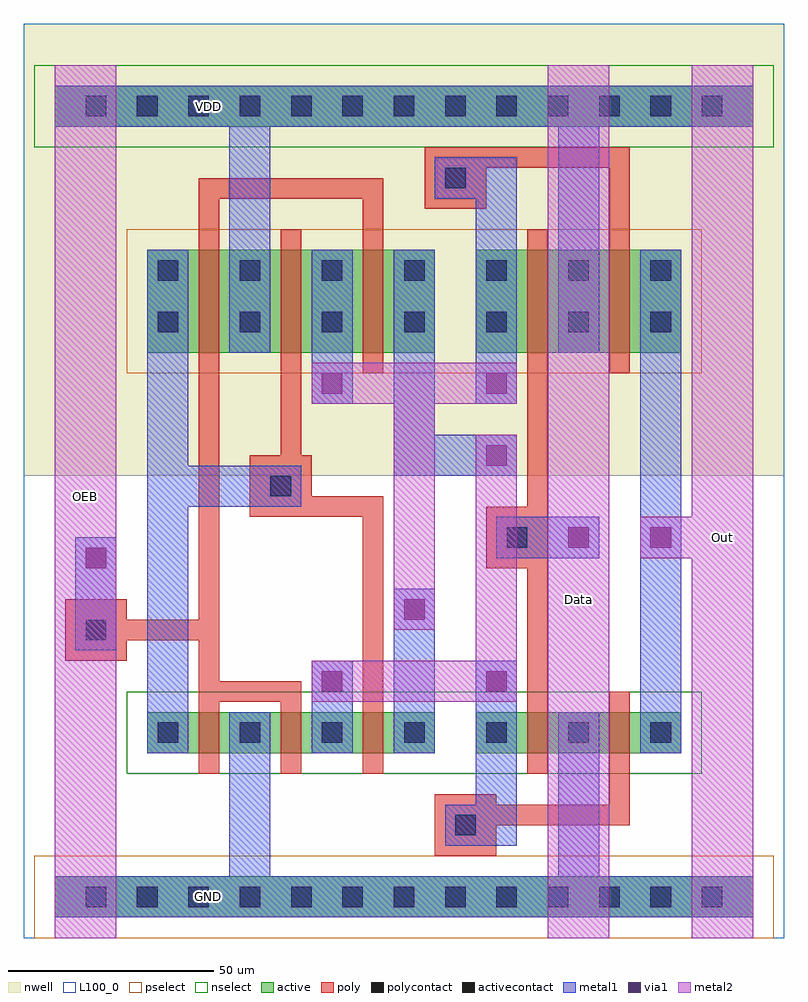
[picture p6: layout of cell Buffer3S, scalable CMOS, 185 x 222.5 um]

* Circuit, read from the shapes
.subckt Buffer3S Data GND OEB Out VDD
M1 GND OEB n1 GND nfet w=10u l=5u
M2 n2 OEB GND GND nfet w=10u l=5u
M3 n3 n1 n2 GND nfet w=10u l=5u
M4 GND Data n2 GND nfet w=10u l=5u
M5 Out n2 GND GND nfet w=10u l=5u
M6 VDD OEB n1 VDD pfet w=25u l=5u
M7 n3 n1 VDD VDD pfet w=25u l=5u
M8 n2 OEB n3 VDD pfet w=25u l=5u
M9 VDD Data n3 VDD pfet w=25u l=5u
M10 Out n3 VDD VDD pfet w=25u l=5u
.ends

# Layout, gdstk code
import gdstk
lib = gdstk.Library(unit=1e-6, precision=1e-09)
def R(c, l, rs):  # rectangles x0, y0, x1, y1
    for r in rs: c.add(gdstk.rectangle(r[:2], r[2:], *l))
def A(c, l, x, y, w, h, nx, ny, dx, dy):  # array of equal rectangles
    R(c, l, [(x+i*dx, y+j*dy, x+i*dx+w, y+j*dy+h) for i in range(nx) for j in range(ny)])
nwell = (42, 0)
active = (43, 0)
pselect = (44, 0)
nselect = (45, 0)
poly = (46, 0)
polycontact = (47, 0)
activecontact = (48, 0)
metal1 = (49, 0)
via1 = (50, 0)
metal2 = (51, 0)
L100_0 = (100, 0)

buffer3s = lib.new_cell('Buffer3S')
R(buffer3s, nwell, [(0,112.5,185,222.5), (7.5,112.5,177.5,190), (0,190,185,215), (7.5,215,177.5,222.5)])
R(buffer3s, active, [(7.5,5,177.5,15), (30,45,100,55), (110,45,160,55), (30,142.5,100,167.5), (110,142.5,160,167.5), (7.5,197.5,177.5,207.5)])
R(buffer3s, pselect, [(2.5,0,182.5,20), (25,137.5,165,172.5)])
R(buffer3s, nselect, [(25,40,165,60), (2.5,192.5,182.5,212.5)])
R(buffer3s, poly, [(100,20,115,27.5), (100,27.5,147.5,32.5), (100,32.5,115,35), (142.5,32.5,147.5,60), (42.5,40,47.5,57.5), (62.5,40,67.5,57.5), (82.5,40,87.5,102.5), (122.5,40,127.5,90), (42.5,57.5,67.5,62.5), (42.5,62.5,47.5,72.5), (10,67.5,25,72.5), (10,72.5,47.5,77.5), (10,77.5,25,82.5), (42.5,77.5,47.5,180), (112.5,90,127.5,105), (55,102.5,87.5,107.5), (122.5,105,127.5,172.5), (55,107.5,70,117.5), (62.5,117.5,67.5,172.5), (82.5,137.5,87.5,180), (142.5,137.5,147.5,187.5), (97.5,177.5,112.5,187.5), (42.5,180,87.5,185), (97.5,187.5,147.5,192.5)])
R(buffer3s, polycontact, [(105,25,110,30), (15,72.5,20,77.5), (117.5,95,122.5,100), (60,107.5,65,112.5), (102.5,182.5,107.5,187.5)])
A(buffer3s, activecontact, 15, 7.5, 5, 5, 13, 2, 12.5, 192.5)
A(buffer3s, activecontact, 32.5, 47.5, 5, 5, 7, 2, 20, 100)
A(buffer3s, activecontact, 32.5, 160, 5, 5, 7, 1, 20, 0)
R(buffer3s, metal1, [(7.5,5,177.5,15), (50,15,60,55), (130,15,140,55), (102.5,22.5,120,32.5), (110,32.5,120,67.5), (30,45,40,105), (70,45,80,67.5), (90,45,100,85), (150,45,160,167.5), (12.5,70,22.5,97.5), (115,92.5,140,102.5), (30,105,67.5,115), (90,112.5,120,122.5), (30,115,40,167.5), (90,122.5,100,167.5), (70,130,80,167.5), (110,130,120,180), (50,142.5,60,197.5), (130,142.5,140,197.5), (100,180,120,190), (7.5,197.5,177.5,207.5)])
R(buffer3s, via1, [(72.5,60,77.5,65), (112.5,60,117.5,65), (92.5,77.5,97.5,82.5), (15,90,20,95), (132.5,95,137.5,100), (152.5,95,157.5,100), (112.5,115,117.5,120), (72.5,132.5,77.5,137.5), (112.5,132.5,117.5,137.5)])
R(buffer3s, metal2, [(7.5,0,22.5,212.5), (127.5,0,142.5,212.5), (162.5,0,177.5,92.5), (70,57.5,120,67.5), (110,67.5,120,122.5), (90,75,100,130), (150,92.5,177.5,102.5), (162.5,102.5,177.5,212.5), (70,130,120,140)])
R(buffer3s, L100_0, [(0,0,185,222.5)])
buffer3s.add(gdstk.Label('VDD', (45,202.5), layer=49, texttype=1))
buffer3s.add(gdstk.Label('GND', (45,10), layer=49, texttype=1))
buffer3s.add(gdstk.Label('Data', (135,82.5), layer=51, texttype=1))
buffer3s.add(gdstk.Label('Out', (170,97.5), layer=51, texttype=1))
buffer3s.add(gdstk.Label('OEB', (15,107.5), layer=51, texttype=1))

lib.write_gds('Buffer3S.gds')
